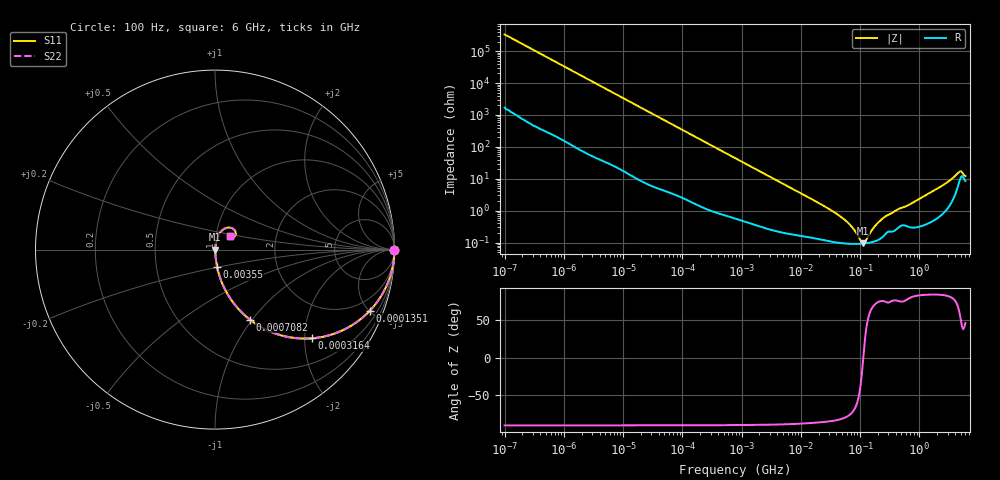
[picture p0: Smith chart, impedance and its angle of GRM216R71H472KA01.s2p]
!Murata Part Number: GRM216R71H472KA01
!These Parameters are Measured in Series Mode Connection
!Data Generated on Mar 30, 2021
!  o--ll--o
!Port1  Port2
!  o------o
!Operation Temp=25[degC], DC Bias Voltage=0[V]
!Freq. Start=100[Hz] Stop=6[GHz] 401[Steps]
# Hz S RI R 50
!Freq.(Hz) S11(Real) S11(Imag) S21(Real) S21(Imag) S12(Real) S12(Imag) S22(Real) S22(Imag)
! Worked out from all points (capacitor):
!   401 points, 100 Hz to 6 GHz, reference 50 ohm
!   read as one part in series: C = 4.75 nF near 109 Hz
!   lowest |Z| = 93.3 mohm at 111.6 MHz (marker M1)
!   series resonance near 113.4 MHz, so ESL is about 410 pH
!   S11 on the Smith chart (normalised r, x): 100 Hz: open; 135.1 kHz: 1.04, -5.07; 316.4 kHz: 1.02, -2.17; 708.2 kHz: 1.01, -0.97; 3.55 MHz: 1.00, -0.20; 6 GHz: 1.17, +0.17
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100  1 -0.000299  1.6e-06 0.000299  1.6e-06 0.000299  1 -0.000299
2008  0.9999 -0.00595  6.18e-05 0.00595  6.18e-05 0.00595  0.9999 -0.00595
12592  0.9984 -0.037  0.00156 0.037  0.00156 0.037  0.9984 -0.037
40335  0.9855 -0.1167  0.0145 0.1167  0.0145 0.1167  0.9855 -0.1167
135116  0.8632 -0.3398  0.1368 0.3398  0.1368 0.3398  0.8632 -0.3398
316350  0.5406 -0.4939  0.4594 0.4939  0.4594 0.4939  0.5406 -0.4939
708247  0.1946 -0.3898  0.8054 0.3898  0.8054 0.3898  0.1946 -0.3898
774597  0.1687 -0.3682  0.8313 0.3682  0.8313 0.3682  0.1687 -0.3682
1449809  0.0573 -0.2245  0.9427 0.2245  0.9427 0.2245  0.0573 -0.2245
3549919  0.0118 -0.0969  0.9882 0.0969  0.9882 0.0969  0.0118 -0.0969
1.555665e7  0.00191 -0.0224  0.9981 0.0224  0.9981 0.0224  0.00191 -0.0224
5.449875e7  0.000962 -0.00515  0.999 0.00515  0.999 0.00515  0.000962 -0.00515
7.455971e7  0.000913 -0.00279  0.9991 0.00279  0.9991 0.00279  0.000913 -0.00279
1.020051e8  0.000915 -0.000687  0.9991 0.000687  0.9991 0.000687  0.000915 -0.000687
1.115611e8  0.000926 -0.000106  0.9991 0.000106  0.9991 0.000106  0.000926 -0.000106
1.220122e8  0.000942 0.000476  0.9991 -0.000476  0.9991 -0.000476  0.000942 0.000476
1.596157e8  0.00103 0.00228  0.999 -0.00228  0.999 -0.00228  0.00103 0.00228
1.996653e8  0.0012 0.00392  0.9988 -0.00392  0.9988 -0.00392  0.0012 0.00392
3.124326e8  0.00226 0.00725  0.9977 -0.00725  0.9977 -0.00725  0.00226 0.00725
1.95892e9  0.0077 0.0465  0.9923 -0.0465  0.9923 -0.0465  0.0077 0.0465
4.586474e9  0.0787 0.1232  0.9213 -0.1232  0.9213 -0.1232  0.0787 0.1232
6e9  0.0844 0.0735  0.9156 -0.0735  0.9156 -0.0735  0.0844 0.0735
